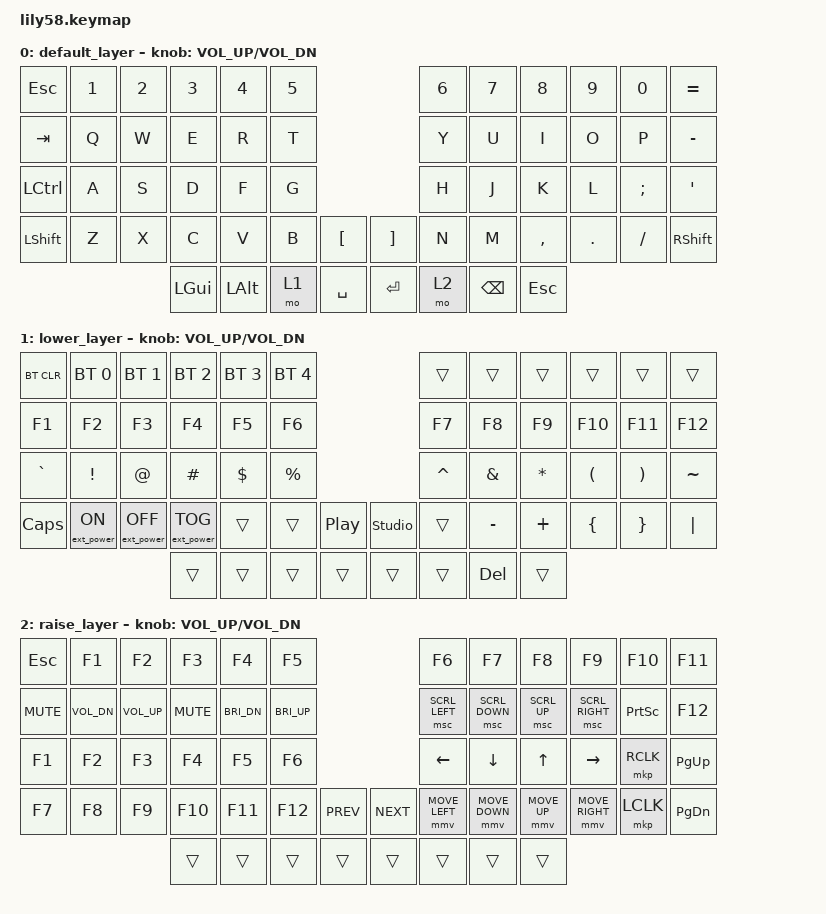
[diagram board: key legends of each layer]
/*
 * Copyright (c) 2020 The ZMK Contributors
 *
 * SPDX-License-Identifier: MIT
 */

#include <behaviors.dtsi>
#include <dt-bindings/zmk/keys.h>
#include <dt-bindings/zmk/bt.h>
#include <dt-bindings/zmk/ext_power.h>

//mouse config 
// #define ZMK_POINTING_DEFAULT_MOVE_VAL 600
// #define ZMK_POINTING_DEFAULT_SCRL_VAL 10

#include <dt-bindings/zmk/pointing.h>

/ {
    keymap {
        compatible = "zmk,keymap";

        default_layer {
// ------------------------------------------------------------------------------------------------------------
// |  ESC  |  1  |  2  |  3   |  4   |  5   |                   |  6   |  7    |  8    |  9   |   0   |   =   |
// |  TAB  |  Q  |  W  |  E   |  R   |  T   |                   |  Y   |  U    |  I    |  O   |   P   |   -   |
// |  CTRL |  A  |  S  |  D   |  F   |  G   |                   |  H   |  J    |  K    |  L   |   ;   |   '   |
// | SHIFT |  Z  |  X  |  C   |  V   |  B   |   "["  |  |  "]"  |  N   |  M    |  ,    |  .   |   /   | SHIFT |
//                     | GUI  | ALT  | LOWER|  SPACE |  | ENTER | RAISE| BSPC  | ESC   |
            bindings = <
&kp ESC   &kp N1 &kp N2 &kp N3   &kp N4   &kp N5                     &kp N6 &kp N7   &kp N8    &kp N9  &kp N0   &kp EQUAL
&kp TAB   &kp Q  &kp W  &kp E    &kp R    &kp T                      &kp Y  &kp U    &kp I     &kp O   &kp P    &kp MINUS
&kp LCTRL &kp A  &kp S  &kp D    &kp F    &kp G                      &kp H  &kp J    &kp K     &kp L   &kp SEMI &kp SQT
&kp LSHFT &kp Z  &kp X  &kp C    &kp V    &kp B  &kp LBKT   &kp RBKT &kp N  &kp M    &kp COMMA &kp DOT &kp FSLH &kp RSHFT
                        &kp LGUI &kp LALT &mo 1  &kp SPACE  &kp RET  &mo 2  &kp BSPC &kp ESC
            >;

            sensor-bindings = <&inc_dec_kp C_VOL_UP C_VOL_DN>;
        };

        lower_layer {
// ------------------------------------------------------------------------------------------------------------
// | BTCLR | BT1 | BT2 |  BT3 |  BT4 |  BT5 |                   |      |       |       |      |       |       |
// |  F1   |  F2 |  F3 |  F4  |  F5  |  F6  |                   |  F7  |  F8   |  F9   |  F10 |  F11  |  F12  |
// |   `   |  !  |  @  |  #   |  $   |  %   |                   |  ^   |  &    |  *    |  (   |   )   |   ~   |
// |       |     |     |      |      |      |   PP   |  |STD_UNL|      |  _    |  +    |  {   |   }   |  "|"  |
//                     |      |      |      |        |  |       |      |  DEL  |       |
            bindings = <
&bt BT_CLR &bt BT_SEL 0     &bt BT_SEL 1      &bt BT_SEL 2      &bt BT_SEL 3 &bt BT_SEL 4                       &trans    &trans    &trans    &trans    &trans    &trans
&kp F1     &kp F2           &kp F3            &kp F4            &kp F5       &kp F6                             &kp F7    &kp F8    &kp F9    &kp F10   &kp F11   &kp F12
&kp GRAVE  &kp EXCL         &kp AT            &kp HASH          &kp DOLLAR   &kp PRCNT                          &kp CARET &kp AMPS  &kp ASTRK &kp LPAR  &kp RPAR  &kp TILDE
&kp CAPS   &ext_power EP_ON &ext_power EP_OFF &ext_power EP_TOG &trans       &trans    &kp C_PP &studio_unlock  &trans    &kp MINUS &kp PLUS  &kp LBRC  &kp RBRC  &kp PIPE
                                              &trans            &trans       &trans    &trans   &trans          &trans    &kp DEL   &trans
            >;

            sensor-bindings = <&inc_dec_kp C_VOL_UP C_VOL_DN>;
        };

        raise_layer {
// ------------------------------------------------------------------------------------------------------------
// |   ESC |  F1 |  F2 |  F3  |  F4  |  F5  |                   |  F6  |   F7  |   F8  |  F9  |  F10  |  F11  |
// |  MUTE |VOLDN|VOLUP|DEAFEN|BRIDN |BRIUP |                   |  <-  |   v   |   ^   |  ->  | PSCRN |  F12  |
// |   F1  |  F2 |  F3 |  F4  |  F5  |  F6  |                   |  <-  |   v   |   ^   |  ->  | RCLK  | PG_UP |
// |   F7  |  F8 |  F9 |  F10 |  F11 |  F12 |MED_PREV|  |MED_NEX|  <-  |   v   |   ^   |  ->  | LCLK  | PG_DN |
//                     |      |      |      |        |  |       |      |       |       |
            bindings = <
&kp ESC    &kp F1       &kp F2       &kp F3      &kp F4        &kp F5                               &kp F6         &kp F7         &kp F8       &kp F9          &kp F10   &kp F11
&kp C_MUTE &kp C_VOL_DN &kp C_VOL_UP &kp C_MUTE  &kp C_BRI_DN  &kp C_BRI_UP                         &msc SCRL_LEFT &msc SCRL_DOWN &msc SCRL_UP &msc SCRL_RIGHT &kp PSCRN &kp F12
&kp F1     &kp F2       &kp F3       &kp F4      &kp F5        &kp F6                               &kp LEFT       &kp DOWN       &kp UP       &kp RIGHT       &mkp RCLK &kp PG_UP
&kp F7     &kp F8       &kp F9       &kp F10     &kp F11       &kp F12      &kp C_PREV   &kp C_NEXT &mmv MOVE_LEFT &mmv MOVE_DOWN &mmv MOVE_UP &mmv MOVE_RIGHT &mkp LCLK &kp PG_DN
                                     &trans      &trans        &trans       &trans       &trans     &trans      &trans         &trans
            >;

            sensor-bindings = <&inc_dec_kp C_VOL_UP C_VOL_DN>;
        };
    };
};
